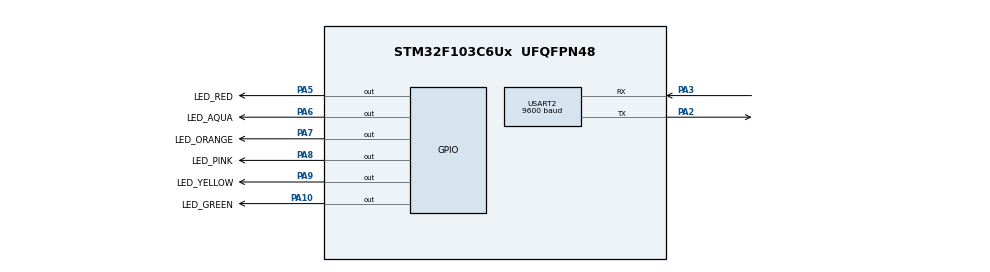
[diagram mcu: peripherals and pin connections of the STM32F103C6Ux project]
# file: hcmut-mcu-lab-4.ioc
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Mcu.Family=STM32F1
Mcu.Name=STM32F103C6Ux
Mcu.Package=UFQFPN48
NVIC.PriorityGroup=NVIC_PRIORITYGROUP_4
NVIC.TIM2_IRQn=true\:0\:0\:false\:false\:true\:true\:true\:true
PA10.GPIO_Label=LED_GREEN
PA10.Signal=GPIO_Output
PA13.Mode=Serial_Wire
PA13.Signal=SYS_JTMS-SWDIO
PA14.Mode=Serial_Wire
PA14.Signal=SYS_JTCK-SWCLK
PA2.Mode=Asynchronous
PA2.Signal=USART2_TX
PA3.Mode=Asynchronous
PA3.Signal=USART2_RX
PA5.GPIO_Label=LED_RED
PA5.Signal=GPIO_Output
PA6.GPIO_Label=LED_AQUA
PA6.Signal=GPIO_Output
PA7.GPIO_Label=LED_ORANGE
PA7.Signal=GPIO_Output
PA8.GPIO_Label=LED_PINK
PA8.Signal=GPIO_Output
PA9.GPIO_Label=LED_YELLOW
PA9.Signal=GPIO_Output
ProjectManager.HeapSize=0x200
ProjectManager.StackSize=0x400
ProjectManager.TargetToolchain=STM32CubeIDE
RCC.APB1Freq_Value=8000000
RCC.APB2Freq_Value=8000000
TIM2.Period=9
TIM2.Prescaler=7999
USART2.BaudRate=9600
USART2.VirtualMode=VM_ASYNC
VP_TIM2_VS_ClockSourceINT.Mode=Internal
board=custom

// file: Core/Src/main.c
/* USER CODE BEGIN Header */
/**
  ******************************************************************************
  * @file           : main.c
  * @brief          : Main program body
  ******************************************************************************
  * @attention
  *
  * Copyright (c) 2022 STMicroelectronics.
  * All rights reserved.
  *
  * This software is licensed under terms that can be found in the LICENSE file
  * in the root directory of this software component.
  * If no LICENSE file comes with this software, it is provided AS-IS.
  *
  ******************************************************************************
  */
/* USER CODE END Header */
#include "main.h"

/* USER CODE BEGIN Includes */
#include <stdio.h>
#include "led_tasks.h"
#include "scheduler.h"
/* USER CODE END Includes */

TIM_HandleTypeDef htim2;

UART_HandleTypeDef huart2;

void SystemClock_Config(void);
static void MX_GPIO_Init(void);
static void MX_TIM2_Init(void);
static void MX_USART2_UART_Init(void);

/* USER CODE BEGIN 0 */
uint32_t time_stamp = 0;

void print_time_stamp(){
	char str[20];
	HAL_UART_Transmit(&huart2, (uint8_t *)str, sprintf(str, "%ld\r\n", time_stamp), 1000);
}
/* USER CODE END 0 */

int main(void)
{

  /* MCU Configuration--------------------------------------------------------*/

  /* Reset of all peripherals, Initializes the Flash interface and the Systick. */
  HAL_Init();

  /* Configure the system clock */
  SystemClock_Config();

  /* Initialize all configured peripherals */
  MX_GPIO_Init();
  MX_TIM2_Init();
  MX_USART2_UART_Init();
  /* USER CODE BEGIN 2 */
  HAL_TIM_Base_Start_IT(&htim2);

  SCH_Init();
  /* USER CODE END 2 */

  /* Infinite loop */
  /* USER CODE BEGIN WHILE */
  SCH_Add_Task(print_time_stamp, 0, 100);

  SCH_Add_Task(debug_led_run, 30, 500 );

  SCH_Add_Task(aqua_led_run, 50, 1000);
  SCH_Add_Task(orange_led_run, 100, 2000);
  SCH_Add_Task(pink_led_run, 150, 3000);
  SCH_Add_Task(yellow_led_run, 200, 4000);

  // One shot task
  SCH_Add_Task(green_led_run, 5000, 0);

  while (1)
  {
	  SCH_Dispatch_Tasks();
    /* USER CODE END WHILE */

  }
}

void SystemClock_Config(void)
{
  RCC_OscInitTypeDef RCC_OscInitStruct = {0};
  RCC_ClkInitTypeDef RCC_ClkInitStruct = {0};

  /** Initializes the RCC Oscillators according to the specified parameters
  * in the RCC_OscInitTypeDef structure.
  */
  RCC_OscInitStruct.OscillatorType = RCC_OSCILLATORTYPE_HSI;
  RCC_OscInitStruct.HSIState = RCC_HSI_ON;
  RCC_OscInitStruct.HSICalibrationValue = RCC_HSICALIBRATION_DEFAULT;
  RCC_OscInitStruct.PLL.PLLState = RCC_PLL_NONE;
  if (HAL_RCC_OscConfig(&RCC_OscInitStruct) != HAL_OK)
  {
    Error_Handler();
  }

  /** Initializes the CPU, AHB and APB buses clocks
  */
  RCC_ClkInitStruct.ClockType = RCC_CLOCKTYPE_HCLK|RCC_CLOCKTYPE_SYSCLK
                              |RCC_CLOCKTYPE_PCLK1|RCC_CLOCKTYPE_PCLK2;
  RCC_ClkInitStruct.SYSCLKSource = RCC_SYSCLKSOURCE_HSI;
  RCC_ClkInitStruct.AHBCLKDivider = RCC_SYSCLK_DIV1;
  RCC_ClkInitStruct.APB1CLKDivider = RCC_HCLK_DIV1;
  RCC_ClkInitStruct.APB2CLKDivider = RCC_HCLK_DIV1;

  if (HAL_RCC_ClockConfig(&RCC_ClkInitStruct, FLASH_LATENCY_0) != HAL_OK)
  {
    Error_Handler();
  }
}

static void MX_TIM2_Init(void)
{

  TIM_ClockConfigTypeDef sClockSourceConfig = {0};
  TIM_MasterConfigTypeDef sMasterConfig = {0};

  htim2.Instance = TIM2;
  htim2.Init.Prescaler = 7999;
  htim2.Init.CounterMode = TIM_COUNTERMODE_UP;
  htim2.Init.Period = 9;
  htim2.Init.ClockDivision = TIM_CLOCKDIVISION_DIV1;
  htim2.Init.AutoReloadPreload = TIM_AUTORELOAD_PRELOAD_DISABLE;
  if (HAL_TIM_Base_Init(&htim2) != HAL_OK)
  {
    Error_Handler();
  }
  sClockSourceConfig.ClockSource = TIM_CLOCKSOURCE_INTERNAL;
  if (HAL_TIM_ConfigClockSource(&htim2, &sClockSourceConfig) != HAL_OK)
  {
    Error_Handler();
  }
  sMasterConfig.MasterOutputTrigger = TIM_TRGO_RESET;
  sMasterConfig.MasterSlaveMode = TIM_MASTERSLAVEMODE_DISABLE;
  if (HAL_TIMEx_MasterConfigSynchronization(&htim2, &sMasterConfig) != HAL_OK)
  {
    Error_Handler();
  }

}

static void MX_USART2_UART_Init(void)
{

  huart2.Instance = USART2;
  huart2.Init.BaudRate = 9600;
  huart2.Init.WordLength = UART_WORDLENGTH_8B;
  huart2.Init.StopBits = UART_STOPBITS_1;
  huart2.Init.Parity = UART_PARITY_NONE;
  huart2.Init.Mode = UART_MODE_TX_RX;
  huart2.Init.HwFlowCtl = UART_HWCONTROL_NONE;
  huart2.Init.OverSampling = UART_OVERSAMPLING_16;
  if (HAL_UART_Init(&huart2) != HAL_OK)
  {
    Error_Handler();
  }

}

static void MX_GPIO_Init(void)
{
  GPIO_InitTypeDef GPIO_InitStruct = {0};

  /* GPIO Ports Clock Enable */
  __HAL_RCC_GPIOA_CLK_ENABLE();

  /*Configure GPIO pin Output Level */
  HAL_GPIO_WritePin(GPIOA, LED_RED_Pin|LED_AQUA_Pin|LED_ORANGE_Pin|LED_PINK_Pin
                          |LED_YELLOW_Pin|LED_GREEN_Pin, GPIO_PIN_RESET);

  /*Configure GPIO pins : LED_RED_Pin LED_AQUA_Pin LED_ORANGE_Pin LED_PINK_Pin
                           LED_YELLOW_Pin LED_GREEN_Pin */
  GPIO_InitStruct.Pin = LED_RED_Pin|LED_AQUA_Pin|LED_ORANGE_Pin|LED_PINK_Pin
                          |LED_YELLOW_Pin|LED_GREEN_Pin;
  GPIO_InitStruct.Mode = GPIO_MODE_OUTPUT_PP;
  GPIO_InitStruct.Pull = GPIO_NOPULL;
  GPIO_InitStruct.Speed = GPIO_SPEED_FREQ_LOW;
  HAL_GPIO_Init(GPIOA, &GPIO_InitStruct);

}

/* USER CODE BEGIN 4 */
void HAL_TIM_PeriodElapsedCallback(TIM_HandleTypeDef *htim){
	SCH_Update_Tasks();
	time_stamp += 10;
}
/* USER CODE END 4 */

void Error_Handler(void)
{
  __disable_irq();
  while (1)
  {
  }
}
